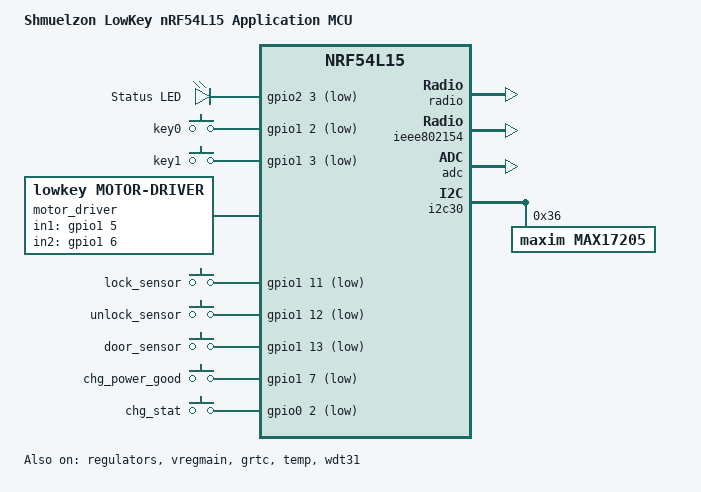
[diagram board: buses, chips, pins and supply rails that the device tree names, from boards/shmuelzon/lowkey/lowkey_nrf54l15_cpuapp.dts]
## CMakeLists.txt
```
cmake_minimum_required(VERSION 3.20.0)

# Derive the application version from git so it can be embedded in both
# the BLE Device Information Service and the Matter software version.
execute_process(
  COMMAND git describe --always --tags
  WORKING_DIRECTORY ${CMAKE_SOURCE_DIR}
  OUTPUT_VARIABLE PROJECT_VER
  OUTPUT_STRIP_TRAILING_WHITESPACE
  ERROR_QUIET)
if(NOT PROJECT_VER)
  set(PROJECT_VER "0.0.0")
endif()

# Derive the Matter software version (Basic Information cluster + OTA image
# header) from the git version and expose it to Kconfig via environment
# variables, consumed by the CHIP_DEVICE_SOFTWARE_VERSION* overrides in Kconfig.
# `git describe` gives "1.2.3" on a tagged commit, "1.2.3-5-gabc123" past a tag,
# or a bare hash when untagged; take the leading MAJOR.MINOR.PATCH and fall back
# to 0. Encode it as decimal MMmmpp (1.2.3 -> 10203, 10.54.1 -> 105401) so a
# newer tag is always a larger number, which is what the Matter OTA mechanism
# compares. Requires minor/patch < 100. Setting these before find_package() puts
# them in the environment inherited by the Kconfig invocation.
if(PROJECT_VER MATCHES "^v?([0-9]+)\\.([0-9]+)\\.([0-9]+)")
  math(EXPR matter_sw_version
       "${CMAKE_MATCH_1} * 10000 + ${CMAKE_MATCH_2} * 100 + ${CMAKE_MATCH_3}")
else()
  set(matter_sw_version 0)
endif()
set(ENV{LOWKEY_SW_VERSION} "${matter_sw_version}")
set(ENV{LOWKEY_SW_VERSION_STR} "${PROJECT_VER}")

find_package(Zephyr REQUIRED HINTS $ENV{ZEPHYR_BASE})
project(lowkey)

target_include_directories(app PRIVATE src)

target_compile_definitions(app PRIVATE APP_VERSION_STRING="${PROJECT_VER}")

target_sources(app PRIVATE
  src/main.c
  src/lock_manager.c
  src/battery_manager.c
  src/door_monitor.c
  src/watchdog.c
  src/gpio_input.c
  src/ui.c
  # Implements the radio_*() API the application uses, fanning out to whichever
  # protocol backends below are enabled. Includes their headers by path
  # (src/ble/..., src/matter/...) rather than relying on those directories being
  # on the include path, since each is only added inside its own branch.
  src/radio.c
)

# Application-level factory-data accessor, shared by every build. All builds
# store data in the nRF Connect SDK factory-data CBOR layout and read it with
# the SDK's standalone C parser (FactoryDataParser.c). A build without Matter
# compiles that parser itself (it depends only on zcbor, so it links without
# the rest of the Matter stack); a Matter build already links it as part of the
# Matter library, so only its header include path is needed there.
if(NOT DEFINED ZEPHYR_CONNECTEDHOMEIP_MODULE_DIR)
  message(FATAL_ERROR
    "ZEPHYR_CONNECTEDHOMEIP_MODULE_DIR is not set; the Matter module is "
    "required for src/platform/nrfconnect/FactoryDataParser.{c,h}.")
endif()
set(matter_nrfconnect_dir
    ${ZEPHYR_CONNECTEDHOMEIP_MODULE_DIR}/src/platform/nrfconnect)
target_sources(app PRIVATE src/factory_data.c)
target_include_directories(app PRIVATE ${matter_nrfconnect_dir})
if(NOT CONFIG_CHIP)
  target_sources(app PRIVATE ${matter_nrfconnect_dir}/FactoryDataParser.c)
endif()

if(CONFIG_LOCK_RADIO_BLE)
  target_include_directories(app PRIVATE src/ble)

  target_sources(app PRIVATE
    src/ble/ble_radio.c
    src/ble/ble_lock_service.c
    src/ble/ble_door_service.c
  )
endif()

if(CONFIG_LOCK_RADIO_MATTER)
  include(${ZEPHYR_CONNECTEDHOMEIP_MODULE_DIR}/config/nrfconnect/app/enable-gnu-std.cmake)
  include(${ZEPHYR_NRF_MODULE_DIR}/samples/matter/common/cmake/source_common.cmake)
  include(${ZEPHYR_NRF_MODULE_DIR}/samples/matter/common/cmake/data_model.cmake)
  include(${ZEPHYR_NRF_MODULE_DIR}/samples/matter/common/cmake/zap_helpers.cmake)

  ncs_get_zap_parent_dir(ZAP_PARENT_DIR)

  target_include_directories(app PRIVATE
    src/matter
    ${ZAP_PARENT_DIR}
  )

  target_sources(app PRIVATE
    src/matter/matter_radio.cpp
    src/matter/zcl_callbacks.cpp
  )

  ncs_configure_data_model()
endif()
```

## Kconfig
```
mainmenu "LowKey application"

config LOCK_MOTOR_TIMEOUT_MS
	int "Motor timeout in milliseconds"
	default 3000
	help
	  Maximum time the motor will run before the lock is declared jammed.
	  If the target sensor does not engage within this time, the motor is
	  stopped and the state transitions to JAMMED.

config LOCK_MOTOR_BRAKE_US
	int "Motor brake duration in microseconds"
	default 2000
	help
	  When the motor stops, both H-bridge inputs are driven high for this
	  duration to apply dynamic braking (shorting the motor terminals)
	  before coasting. This kills the motor's inertia so the bolt does not
	  overshoot its end position. The same brake is applied before reversing
	  direction to let the motor current decay. Set to 0 to disable braking
	  and coast to a stop.

config LOCK_BOLT_SEATING_MS
	int "Bolt seating duration in milliseconds"
	default 100
	help
	  After the lock sensor triggers during a lock operation, the motor
	  continues to run for this duration to fully seat the bolt into the
	  strike. This travel is away from the latch, so overshoot here is
	  harmless. Measured from the sensor interrupt: the position sensors
	  are not debounced, so this is the whole post-endstop travel.

config LOCK_UNBOLT_SEATING_MS
	int "Unbolt seating duration in milliseconds"
	default 0
	help
	  After the unlock sensor triggers during an unlock (unbolt) operation,
	  the motor continues to run for this duration. Unlike bolt seating,
	  this travel is toward the latch mechanism, so any non-zero value moves
	  the bolt closer to (or into) releasing the latch. Keep at 0 to stop
	  the motor as soon as the bolt is retracted. Latch release is handled
	  separately by the open action (LOCK_LATCH_RELEASE_MS).

config LOCK_LATCH_RELEASE_MS
	int "Latch release duration in milliseconds"
	default 500
	help
	  When opening (unlock + latch release), the motor continues to run
	  for this duration after the unlock sensor engages to retract the
	  bolt past the latch mechanism, allowing the door to be opened.

	  This is also exactly how long the lock is unlatched, and so how long
	  the door can be pushed open: the latch is spring loaded and pops
	  back out the moment the motor releases the cam. The lock reports
	  unlatched for this window and unlocked afterwards, with the bolt
	  staying retracted either way.

	  Set to 0 to disable latch release entirely, which makes an open
	  behave as a plain unbolt and report itself as such. Matter builds
	  reject that, because the data model advertises the Unbolting
	  feature — see the BUILD_ASSERT in src/matter/matter_radio.cpp.

config LOCK_BATTERY_POLL_INTERVAL_S
	int "Battery polling interval in seconds"
	default 60
	help
	  How often to read the MAX17205 fuel gauge registers for battery
	  level reporting. The ModelGauge m5 algorithm runs continuously in
	  hardware; polling only reads the computed SOC and voltage values.

config LOCK_BUTTON_DEBOUNCE_MS
	int "Button debounce delay in milliseconds"
	default 30
	help
	  Software debounce delay for the user keys (key0, key1). Only the
	  mechanical switches are debounced; the Hall-effect sensors and the
	  charger status pins are solid-state outputs that do not bounce, and
	  are handled on the interrupt directly (see gpio_input_init()).

config LOCK_WATCHDOG_TIMEOUT_MS
	int "Watchdog timeout in milliseconds"
	default 30000
	help
	  Per-channel task watchdog timeout. A monitored thread that fails to
	  feed its channel within this period resets the SoC.

	  Must stay above the 10 s HCI command timeout (HCI_CMD_TIMEOUT in
	  Zephyr's hci_core.c): the advertising and TX-power paths issue
	  blocking HCI commands from the system workqueue, so a controller
	  that stops answering would otherwise reset a healthy device.

config LOCK_WATCHDOG_FEED_MS
	int "Watchdog feed interval in milliseconds"
	default 5000
	help
	  How often each monitored thread feeds its channel.

config LOCK_DISCOVERY_TIMEOUT_S
	int "Discovery timeout in seconds"
	default 180 if LOCK_RADIO_MATTER
	default 60
	help
	  How long the device remains discoverable to new devices after a
	  button press. Already-bonded devices can connect at any time.

	  With Matter enabled this is 180 s so that both onboarding paths
	  opened by one button press close together. Matter clamps its
	  commissioning window up to its own three-minute minimum whatever it
	  is asked for (see matter_start_discovery() in
	  src/matter/matter_radio.cpp), so a shorter BLE window would leave
	  the lock commissionable after the LED had stopped saying so.

config LOCK_DISCOVERY_PRESS_MS
	int "Discovery button hold time in milliseconds"
	default 1500
	help
	  How long the button must be held to trigger discovery.

config LOCK_FACTORY_RESET_PRESS_MS
	int "Factory reset button hold time in milliseconds"
	default 10000
	help
	  How long the button must be held to trigger a factory reset.
	  All bonding/commissioning data is erased and the device reboots.

config LOCK_BLE_TX_POWER_DBM
	int "BLE TX output power in dBm"
	depends on BT
	default 7 if LOCK_RADIO_BLE
	default 0
	help
	  Radio TX output power for BLE, applied to the advertiser at init
	  and to each connection as it comes up. 0 leaves the controller at
	  its own default and skips the command entirely.

	  Applied at runtime because Zephyr's CONFIG_BT_CTLR_TX_PWR_* choice
	  reaches only the software link layer; on the SoftDevice Controller it
	  is silently ignored. The knob that works is the vendor-specific HCI
	  Write Tx Power Level command, so a non-zero value here also needs
	  CONFIG_BT_CTLR_TX_PWR_DYNAMIC_CONTROL=y.

	  Must be a level the SoC supports or the controller rejects the
	  command outright. +7 is the ceiling for the QFN part on this board;
	  the datasheet's +8 dBm is characterised for the CSP package only.

# ─────────────────────────────────────────────────────────────────────
# Radio backends
# ─────────────────────────────────────────────────────────────────────
# Both radios on is the product default: Matter over Thread as the primary
# path, the custom BLE GATT services as a local fallback that still works when
# the Thread mesh or the controller is down.
#
# All protocol-specific configuration lives here rather than in prj_*.conf
# fragments, so a build is described by the board plus these two switches. Two
# rules make that work:
#
#   * Defaults here beat the Zephyr and NCS ones, because this file is parsed
#     before Kconfig.zephyr and the CHIP fragments sourced at the bottom.
#   * `select` to switch a subsystem on, `default` only for values. A
#     `default y` on a symbol with unmet dependencies resolves silently to n
#     and drops the feature; a `select` makes Kconfig complain.

config LOCK_RADIO_BLE
	bool "BLE radio backend (lock, door and battery GATT services)"
	default y
	select BT
	select BT_PERIPHERAL
	select BT_SMP
	select BT_APP_PASSKEY
	select BT_SETTINGS
	select BT_KEYS_OVERWRITE_OLDEST
	select BT_FILTER_ACCEPT_LIST
	select BT_EXT_ADV
	select BT_BAS
	select BT_DIS
	select BT_DIS_SETTINGS
	select BT_DIS_MANUF_NAME
	select BT_DIS_MODEL_NUMBER
	select BT_DIS_SERIAL_NUMBER
	select BT_DIS_HW_REV
	select BT_DIS_FW_REV
	select SETTINGS_RUNTIME
	select BT_CTLR_TX_PWR_DYNAMIC_CONTROL
	# So build_adv_data() can put the per-device name in the GAP name as
	# well as the advertisement. Only when BLE is the only radio: a
	# combined build shares the GAP name with Matter and has to leave it
	# generic — see the comment on BT_DEVICE_NAME below.
	select BT_DEVICE_NAME_DYNAMIC if !LOCK_RADIO_MATTER
	# DFU over Bluetooth SMP. In a combined build CHIP_DFU_OVER_BT_SMP
	# selects this same set and adds arbitration against Matter OTA; these
	# selects are what make SMP work in a BLE-only build, where that
	# symbol does not exist.
	select ZCBOR
	select MCUMGR
	select MCUMGR_TRANSPORT_BT
	select MCUMGR_TRANSPORT_BT_CONN_PARAM_CONTROL
	select MCUMGR_TRANSPORT_BT_REASSEMBLY
	select MCUMGR_GRP_IMG
	select MCUMGR_GRP_OS
	select MCUMGR_GRP_OS_BOOTLOADER_INFO
	help
	  Custom GATT services for lock control, door state and battery level,
	  plus firmware update over Bluetooth SMP. This is a local control
	  path that needs no Matter fabric and no working Thread mesh, and it
	  is the only control path in a home with no Matter ecosystem.

config LOCK_RADIO_MATTER
	bool "Matter over Thread radio backend"
	default y
	select CHIP
	help
	  Matter Door Lock and Power Source clusters over Thread, commissioned
	  over Bluetooth. The primary control path when the home has a Matter
	  ecosystem.

# The compile-time base name. The lock service's advertisement always appends a
# per-device suffix taken from the factory-data serial ("LowKey-21C4").
#
# In a BLE-only build build_adv_data() also writes the suffixed name back as the
# GAP name, so the GATT Device Name — which is what a phone shows once it has
# bonded, in place of the advertised Local Name — identifies the individual
# lock. With Matter built in it has to stay generic instead: Matter puts the GAP
# name in its commissioning scan response, and a per-device name there would
# leave a scanner showing two similarly named entries of which only one carries
# the lock service.
config BT_DEVICE_NAME
	default "LowKey" if BT

# Zephyr turns this on by default as soon as the name is dynamic, which would
# let any bonded peer rename the lock over GATT. The name is derived from
# factory data and rebuilt on every boot, so such a write is silently reverted
# at the next reset and the device stops matching its own sticker in between.
config BT_DEVICE_NAME_GATT_WRITABLE
	default n

if LOCK_RADIO_BLE

# Preferred connection interval of 250 ms (200 * 1.25 ms). Balances
# responsiveness (lock commands arrive within 250 ms) against battery draw
# (~4 radio wake-ups/s instead of ~10 at the default 100 ms).
#
# Only applied when BLE is the only radio. In a combined build these are
# global and would also slow Matter commissioning, which wants the 45 ms
# that Matter's own defaults ask for — so there our links request 250 ms
# per-connection from the advertising set's connected callback instead.
if !LOCK_RADIO_MATTER

config BT_PERIPHERAL_PREF_MIN_INT
	default 200

config BT_PERIPHERAL_PREF_MAX_INT
	default 200

config BT_PERIPHERAL_PREF_LATENCY
	default 0

config BT_PERIPHERAL_PREF_TIMEOUT
	default 400

endif # !LOCK_RADIO_MATTER

config BT_GAP_AUTO_UPDATE_CONN_PARAMS
	default y

config BT_MAX_PAIRED
	default 5

# DIS is populated at runtime from factory data (load_and_apply_factory_data()
# in src/ble/ble_radio.c), so only the string buffer needs sizing here. PnP ID
# is off — it exists for USB-style vendor/product lookup this device has no use
# for.
config BT_DIS_STR_MAX
	default 64

config BT_DIS_PNP
	default n

# TX MTU and RX buffer for SMP DFU throughput. Deliberately modest: the
# NCS Matter defaults for DFU over SMP ask for 498/502, which costs
# several KiB of RAM for a firmware update that is rare and not
# latency-critical.
config BT_L2CAP_TX_MTU
	default 252

# Must stay <= 251. Zephyr's BT_CTLR_DATA_LENGTH_MAX defaults to this value only
# while it is <= 251 and otherwise falls to 27, so 256 would silently disable
# Data Length Extension and chop every ATT payload into 27-byte link-layer
# packets — ~12 per 252-byte SMP chunk instead of 2. Unlike BT_CTLR_TX_PWR_*
# (see LOCK_BLE_TX_POWER_DBM) the SoftDevice Controller does consume this.
#
# Costs 5 bytes of negotiated ATT MTU, since BT_L2CAP_RX_MTU is this minus the
# L2CAP header and the MTU is the MIN of the two directions.
config BT_BUF_ACL_RX_SIZE
	default 251

# Raised from the SoftDevice Controller defaults of 2 RX / 3 TX, which cap what
# a connection event can carry: at 2 RX buffers an SMP upload moved ~2 packets
# per event however long the event ran. Six each keeps a 15-30 ms event busy at
# the PDU size above. Costs ~1.8 KiB of RAM and nothing in battery terms — an
# idle connection exchanges empty PDUs either way.
config BT_CTLR_SDC_RX_PACKET_COUNT
	default 6

config BT_CTLR_SDC_TX_PACKET_COUNT
	default 6

config BT_BUF_ACL_TX_COUNT
	default 6

# Requested while the SMP characteristic is in use. Zephyr's defaults of 6/9
# (7.5-11.25 ms) are below the 15 ms floor in Apple's Accessory Design
# Guidelines, so iOS rejects them — and a peer rejection is not an error from
# bt_conn_le_param_update(), so smp_bt.c never retries and the link silently
# stays at 250 ms. That was the dominant term in a ~0.03 kB/s DFU.
#
# 15-30 ms satisfies Apple's rules. Applies only during a transfer: smp_bt.c
# restores BT_PERIPHERAL_PREF_* five seconds after the last SMP packet.
config MCUMGR_TRANSPORT_BT_CONN_PARAM_CONTROL_MIN_INT
	default 12

config MCUMGR_TRANSPORT_BT_CONN_PARAM_CONTROL_MAX_INT
	default 24

endif # LOCK_RADIO_BLE

if LOCK_RADIO_MATTER

config CHIP_DEVICE_PRODUCT_NAME
	default "LowKey"

config CHIP_DEVICE_PRODUCT_ID
	default 32768

config NCS_SAMPLE_MATTER_ZAP_FILE_PATH
	default "${APPLICATION_CONFIG_DIR}/src/matter/lock.zap"

choice STD_CPP
	default STD_CPP17
endchoice

config CHIP_BLE_EXT_ADVERTISING
	default y

# In minutes, not seconds: the SDK multiplies this by 60 to get
# CHIP_DEVICE_CONFIG_DISCOVERY_TIMEOUT_SECS. An hour of commissionable
# advertising out of the box, so a lock can be installed and set up in
# separate sittings. Only applies until the first fabric exists; after
# that, a window is opened by a button press for
# LOCK_DISCOVERY_TIMEOUT_S.
config CHIP_BLE_ADVERTISING_DURATION
	default 60

# This hardware has no NFC antenna: the nRF54L15 NFCT pins (P1.02/P1.03)
# are repurposed as the user keys (nfct-pins-as-gpios), so the NFCT
# peripheral is disabled. Matter enables sharing the onboarding payload
# over an NFC tag by default, which pulls in the NFC Type-2-Tag library
# and then fails to link against the absent nrfx_nfct / nfc_platform
# driver. Turn it off — commissioning is via BLE + the QR/manual code.
config CHIP_NFC_ONBOARDING_PAYLOAD
	default n

# ── Thread as MTD/SED ────────────────────────────────────────────────
choice OPENTHREAD_DEVICE_TYPE
	default OPENTHREAD_MTD
endchoice

config CHIP_ENABLE_ICD_SUPPORT
	default y

# The ceiling for the QFN package this board uses — the datasheet's +8 dBm is
# CSP-only, and there is no PA/FEM here.
#
# Do NOT raise this to 8 expecting a clamp. The nrf_802154 driver clamps only to
# the highest RADIO.TXPOWER value the SoC defines, and nrf54l15_types.h defines
# both Pos7dBm and Pos8dBm because the register field is per-die, not
# per-package — so 8 programs a level this part is not characterised for.
#
# Only improves lock -> router. Inbound commands are governed by the router's TX
# power and our receive sensitivity, which nothing here changes.
config OPENTHREAD_DEFAULT_TX_POWER
	default 7

# ── ICD responsiveness ───────────────────────────────────────────────
# The lock sleeps with its radio off, so the parent router buffers every inbound
# frame until we poll. Inbound latency is bounded by the poll interval; outbound
# reporting is unaffected and always immediate.
#
# The NCS defaults (2500 slow / 500 fast / 300 active) are self-defeating: fast
# poll > active mode duration means the window expires before a single fast poll
# can fire, so every round trip of a multi-message exchange pays the full
# 2500 ms and a CASE handshake costs ~7.5 s. These give the active window room
# to cover a handshake.
#
# Deliberately not SSED/CSL: Matter's SSED path only calls otLinkSetCslPeriod,
# never otLinkSetPollPeriod, so the poll period freezes at boot and the
# active/idle machinery becomes a no-op. CSL also needs a Thread 1.2+ parent
# with enhanced keep-alive, and the parent changes as the mesh re-forms; when
# unsupported it silently disables and falls back to a child-timeout-derived
# period of minutes, i.e. the lock looks dead.
config CHIP_ICD_SLOW_POLL_INTERVAL
	default 500

config CHIP_ICD_FAST_POLLING_INTERVAL
	default 200

config CHIP_ICD_ACTIVE_MODE_DURATION
	default 2000

config CHIP_ICD_ACTIVE_MODE_THRESHOLD
	default 1000

# ── Factory Data ─────────────────────────────────────────────────────
# _BUILD stays off so the build does not bake Kconfig-derived factory data into
# merged.hex at the same partition: every app flash would overwrite the
# per-device data provisioned by scripts/generate_factory_data.py with SDK
# sample defaults, and the generated secrets exist nowhere else.
config CHIP_FACTORY_DATA
	default y

config CHIP_FACTORY_DATA_BUILD
	default n

# ── Test event triggers ──────────────────────────────────────────────
# A certification feature, on by default in the NCS Matter common code, which
# reads a 16-byte enable key from factory data at server init. We generate no
# such key, so leaving it on aborts init with
# CHIP_ERROR_PERSISTED_STORAGE_VALUE_NOT_FOUND (0xa0). Nothing in the
# production path — OTA, fabric removal, factory reset, reboot — needs it.
config NCS_SAMPLE_MATTER_TEST_EVENT_TRIGGERS
	default n

endif # LOCK_RADIO_MATTER

# ─────────────────────────────────────────────────────────────────────
# Both radios: making Bluetooth hold two tenants
# ─────────────────────────────────────────────────────────────────────
# Matter owns the Bluetooth stack and advertises for commissioning through its
# BLEAdvertisingArbiter — a single time-multiplexed advertiser that stamps one
# identity on every request. Routing our services through it would mean no
# persistent bonds (why CONFIG_CHIP_NUS forces BT_BONDABLE=n) and no
# reachability during a commissioning window.
#
# Instead the two take separate identities. BLEManagerImpl picks identity 1 for
# CHIPoBLE whenever BT_BONDABLE is set, leaving identity 0 to the application,
# so both advertise at once and our bonds sit where Matter never looks — which
# matters, because it calls bt_id_reset() on identity 1 on every boot after the
# first, unpairing everything bonded there.
if LOCK_RADIO_BLE && LOCK_RADIO_MATTER

# Identity 0 is ours, identity 1 is Matter's.
config BT_ID_MAX
	default 2

# One advertising set each. Ours is created explicitly; Matter's arbiter
# uses the legacy set.
config BT_EXT_ADV_MAX_ADV_SET
	default 2

# Keeps the controller's per-set memory at its lower tier; nothing we
# advertise needs more than a legacy payload.
config BT_CTLR_ADV_DATA_LEN_MAX
	default 31

# One commissioning link plus one application link. Matter defaults this
# to 1, which is why Nordic's own NUS integration cannot run during
# commissioning.
config BT_MAX_CONN
	default 2

# Matter's own formula, from its Kconfig.defaults: 6 - (BT_MAX_CONN + 1).
config BT_BUF_ACL_RX_COUNT_EXTRA
	default 3

# CHIPoBLE characteristics are unencrypted, so a commissioner has no
# reason to pair — but some phone stacks bond opportunistically, and with
# BT_APP_PASSKEY on that would stall commissioning behind a passkey
# prompt. Enabling this lets us refuse pairing that arrives on Matter's
# identity.
config BT_SMP_APP_PAIRING_ACCEPT
	default y

# Stack sizes NCS recommends for nRF54L with Bluetooth security enabled;
# SMP requests are processed on the system workqueue.
config BT_RX_STACK_SIZE
	default 2560

config SYSTEM_WORKQUEUE_STACK_SIZE
	default 2048

# The nrfconnect default (y) makes DoFactoryReset call zms_clear() on the whole
# settings partition, bt/ subtree included. Off, the selective path deletes only
# the CHIP subtree, so a lock removed from its fabric — or one whose
# commissioning failed, which ends at zero fabrics and the same action — keeps
# its BLE bonds. The button path still clears both, calling each backend's own
# factory_reset(). Trade noted in the SDK's help text: whole-page erase is the
# more robust way to recover a settings partition left in a bad state.
config CHIP_FACTORY_RESET_ERASE_SETTINGS
	default n

# Routes SMP DFU through Matter's DFUSync mutex so an SMP upload and a
# Matter OTA cannot both write the secondary slot; the loser gets a clean
# EBUSY. Also registers the image-confirm hooks.
config CHIP_DFU_OVER_BT_SMP
	default y

# CHIP_DFU_OVER_BT_SMP defaults this choice to plain read/write, where a
# BLE-only build gets the authenticated variant for free from BT_SMP. Firmware
# upload should require a paired, encrypted link; src/ble/ble_radio.c carries a
# BUILD_ASSERT so it cannot regress silently.
choice MCUMGR_TRANSPORT_BT_PERM
	default MCUMGR_TRANSPORT_BT_PERM_RW_AUTHEN
endchoice

# MCUMGR_TRANSPORT_NETBUF_SIZE/_COUNT are deliberately left alone: this device
# has the RAM headroom, so CHIP_DFU_OVER_BT_SMP's 1024/6 stands. The count is
# how many SMP requests can be in flight, and Zephyr's default of 2 leaves the
# client unable to pipeline — the next bottleneck after the connection interval.
# Note a BLE-only build has neither symbol and gets Zephyr's 384/4.

endif # LOCK_RADIO_BLE && LOCK_RADIO_MATTER

if CHIP

config NCS_SAMPLE_MATTER_PERSISTENT_STORAGE
	default y

# Software version, derived from the git version by CMakeLists.txt and passed
# in via the environment. The numeric form is decimal MMmmpp so a newer tag is
# always a larger number (what Matter OTA compares); the string is the raw
# `git describe` output. Overrides the SDK defaults (0 / "prerelease").
config CHIP_DEVICE_SOFTWARE_VERSION
	default "$(LOWKEY_SW_VERSION)"

config CHIP_DEVICE_SOFTWARE_VERSION_STRING
	default "$(LOWKEY_SW_VERSION_STR)"

endif # CHIP

if OPENTHREAD

choice OPENTHREAD_NORDIC_LIBRARY_CONFIGURATION
	default OPENTHREAD_NORDIC_LIBRARY_MTD
endchoice

endif # OPENTHREAD

if CHIP
source "$(ZEPHYR_CONNECTEDHOMEIP_MODULE_DIR)/config/nrfconnect/chip-module/Kconfig.features"
source "$(ZEPHYR_CONNECTEDHOMEIP_MODULE_DIR)/config/nrfconnect/chip-module/Kconfig.defaults"
source "$(ZEPHYR_NRF_MODULE_DIR)/samples/matter/common/src/Kconfig"
endif # CHIP

source "Kconfig.zephyr"
```

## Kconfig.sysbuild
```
choice BOOTLOADER
	default BOOTLOADER_MCUBOOT
endchoice

if BOOTLOADER_MCUBOOT

config PM_OVERRIDE_EXTERNAL_DRIVER_CHECK
	default y

config DFU_MULTI_IMAGE_PACKAGE_BUILD
	default y

config DFU_MULTI_IMAGE_PACKAGE_APP
	default y

endif # BOOTLOADER_MCUBOOT

source "share/sysbuild/Kconfig"
```

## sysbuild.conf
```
# Set unconditionally: sysbuild's Kconfig cannot see the application's, so this
# cannot be keyed off CONFIG_LOCK_RADIO_MATTER. It gates build-time factory data
# (left off in favour of scripts/generate_factory_data.py) and the matter.ota
# artifact, so a CONFIG_LOCK_RADIO_MATTER=n build emits a matter.ota nobody
# wants unless -DSB_CONFIG_MATTER=n is passed too.
SB_CONFIG_MATTER=y

# ── MCUboot ──────────────────────────────────────────────────────────
SB_CONFIG_BOOTLOADER_MCUBOOT=y
# Overwrite-only is required for compressed images; LZMA is applied at build
# time and MCUboot decompresses into the primary slot.
SB_CONFIG_MCUBOOT_MODE_OVERWRITE_ONLY=y
SB_CONFIG_MCUBOOT_COMPRESSED_IMAGE_SUPPORT=y

# Images are signed with MCUboot's *public* development key unless this is
# overridden. Anyone can produce an image such a bootloader will accept, and the
# key cannot be changed after units ship, so set it for anything but a test
# build — see the security section of README.md.
#
# SB_CONFIG_BOOT_SIGNATURE_KEY_FILE="/absolute/path/to/prod-ed25519.pem"
```

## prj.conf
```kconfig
# ── Core System ──────────────────────────────────────────────────────
CONFIG_I2C=y
# Without this the vregmain DCDC mode in devicetree is silently ignored.
CONFIG_REGULATOR=y

# ── Power Management ─────────────────────────────────────────────────
# PM_DEVICE_RUNTIME is what makes i2c30's zephyr,pm-device-runtime-auto take
# effect. Without it the TWIM is resumed once at boot and never suspended
# again, so the i2c30_sleep pinctrl state is applied only during init.
CONFIG_PM_DEVICE=y
CONFIG_PM_DEVICE_RUNTIME=y

# Reference-counted constant-latency requests, shared with MPSL.
CONFIG_NRF_SYS_EVENT=y

# Powers down whole 32 KiB SRAM sections above the image. Driven from main():
# the library's own SYS_INIT needs newlib, and Matter forces picolibc.
CONFIG_RAM_POWER_DOWN_LIBRARY=y

# ── Serial / Console — disabled for release ──────────────────────────
CONFIG_SERIAL=n
CONFIG_CONSOLE=n
CONFIG_UART_CONSOLE=n
CONFIG_PRINTK=n
CONFIG_NCS_BOOT_BANNER=n
# Unmasked once NCS_BOOT_BANNER is off, so it has to be turned off too.
CONFIG_BOOT_BANNER=n

# ── Logging / shell / debug — disabled for release ───────────────────
CONFIG_LOG=n
CONFIG_USE_SEGGER_RTT=n
CONFIG_SHELL=n
CONFIG_ASSERT_VERBOSE=n
CONFIG_ASSERT_NO_FILE_INFO=y
CONFIG_THREAD_NAME=n

# ── Watchdog ─────────────────────────────────────────────────────────
# Task watchdog: one channel per critical thread, with the hardware watchdog
# as the fallback if the task watchdog itself stops running.
CONFIG_WATCHDOG=y
CONFIG_TASK_WDT=y
CONFIG_TASK_WDT_HW_FALLBACK=y

# ── DFU ──────────────────────────────────────────────────────────────
# Needed explicitly for a BLE-only build: MCUMGR_GRP_IMG does not select them,
# and the Matter symbols that do are absent. Without them the SMP image group
# has no back end and the build warns about unsatisfied MCUboot DFU symbols.
CONFIG_IMG_MANAGER=y
CONFIG_STREAM_FLASH=y

# ── Flash / Settings ─────────────────────────────────────────────────
# ZMS is set explicitly because a BLE-only build has nothing to select it —
# Matter only implies it.
CONFIG_FLASH=y
CONFIG_FLASH_MAP=y
CONFIG_ZMS=y
CONFIG_ZMS_LOOKUP_CACHE=y
CONFIG_ZMS_LOOKUP_CACHE_FOR_SETTINGS=y
CONFIG_SETTINGS=y

# ── Stack / Memory ───────────────────────────────────────────────────
# 6144 is what Matter asks for; server init runs on the main thread.
CONFIG_MAIN_STACK_SIZE=6144
CONFIG_HEAP_MEM_POOL_SIZE=8192

# sys_reboot() is called directly on the factory-reset and init-failure paths,
# so this cannot be left to whatever happens to select it.
CONFIG_REBOOT=y

# ── Build ────────────────────────────────────────────────────────────
CONFIG_LTO=y
CONFIG_ISR_TABLES_LOCAL_DECLARATION=y
CONFIG_RESET_ON_FATAL_ERROR=y
```

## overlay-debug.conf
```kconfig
# Debug overlay. Apply with -DOVERLAY_CONFIG="overlay-debug.conf", which is
# additive. Deliberately NOT named prj_debug.conf: Zephyr treats prj_<suffix>.conf
# as a FILE_SUFFIX variant that REPLACES prj.conf, so -DFILE_SUFFIX=debug would
# silently drop every base setting.
#
# ── Console over SEGGER RTT (SWD back-channel) ───────────────────────
# No wired debug UART on this board; the debugger's RTT channel carries the
# console and logging. SERIAL stays off — no UARTE is enabled.
CONFIG_CONSOLE=y
CONFIG_USE_SEGGER_RTT=y
CONFIG_RTT_CONSOLE=y
CONFIG_PRINTK=y
CONFIG_NCS_BOOT_BANNER=y

# ── Logging ──────────────────────────────────────────────────────────
# Minimal mode routes log output through printk → the RTT console, so no
# separate log backend is needed.
CONFIG_LOG=y
CONFIG_LOG_MODE_MINIMAL=y
CONFIG_LOG_DEFAULT_LEVEL=3

# ── Debug ────────────────────────────────────────────────────────────
CONFIG_ASSERT_VERBOSE=y
CONFIG_ASSERT_NO_FILE_INFO=n
CONFIG_THREAD_NAME=y
CONFIG_THREAD_MONITOR=y

CONFIG_RESET_ON_FATAL_ERROR=n
```

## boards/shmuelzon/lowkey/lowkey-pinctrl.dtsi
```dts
/*
 * Copyright (c) 2024 Nordic Semiconductor ASA
 * SPDX-License-Identifier: Apache-2.0
 */

&pinctrl {
	/* MAX17205 fuel gauge: SCL = P0.00, SDA = P0.01 */
	/omit-if-no-ref/ i2c30_default: i2c30_default {
		group1 {
			psels = <NRF_PSEL(TWIM_SCL, 0, 0)>,
				<NRF_PSEL(TWIM_SDA, 0, 1)>;
		};
	};

	/omit-if-no-ref/ i2c30_sleep: i2c30_sleep {
		group1 {
			psels = <NRF_PSEL(TWIM_SCL, 0, 0)>,
				<NRF_PSEL(TWIM_SDA, 0, 1)>;
			low-power-enable;
		};
	};
};
```

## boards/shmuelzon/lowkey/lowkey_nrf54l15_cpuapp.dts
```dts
/*
 * Copyright (c) 2024 Nordic Semiconductor ASA
 *
 * SPDX-License-Identifier: Apache-2.0
 */

/dts-v1/;

#include <nordic/nrf54l15_cpuapp.dtsi>
#include <zephyr/dt-bindings/gpio/nordic-nrf-gpio.h>
#include "lowkey-pinctrl.dtsi"

/*
 * LowKey board — Ezurio BL54L15 module (P/N 453-00044) carrying the
 * nRF54L15 SoC. Same silicon and module as the BL54L15 DVK, so the SoC-level
 * configuration (clocks, RRAM, GRTC, radio) mirrors that board; the rest of
 * this file describes the product's own wiring. The module has a single fixed
 * antenna (MHF4), so there is no RF switch to manage. There is no wired debug
 * UART — debugging is over the SWD back-channel (RTT).
 */

/ {
	compatible = "shmuelzon,lowkey_nrf54l15-cpuapp";
	model = "Shmuelzon LowKey nRF54L15 Application MCU";

	/*
	 * No zephyr,console or zephyr,*-uart: this board has no wired debug
	 * UART and enables no UARTE, so pointing them at a disabled node would
	 * only mislead. Debug output goes over RTT (see overlay-debug.conf).
	 */
	chosen {
		zephyr,code-partition = &slot0_partition;
		zephyr,sram = &cpuapp_sram;
		zephyr,flash-controller = &rram_controller;
		zephyr,flash = &cpuapp_rram;
		zephyr,ieee802154 = &ieee802154;
	};

	aliases {
		led0 = &status_led;
		key0 = &key0;
		key1 = &key1;
		watchdog0 = &wdt31;

		/* Position sensors */
		lock-sensor   = &lock_sensor;
		unlock-sensor = &unlock_sensor;
		door-sensor   = &door_sensor;

		/* Charger status */
		chg-power-good = &chg_power_good;
		chg-stat       = &chg_stat;
	};

	/* Status LED — P2.03, active-low (MCU sinks current). */
	leds {
		compatible = "gpio-leds";

		status_led: status-led {
			gpios = <&gpio2 3 GPIO_ACTIVE_LOW>;
			label = "Status LED";
		};
	};

	/*
	 * User keys — active-low with internal pull-up. The firmware reaches
	 * these through the key0/key1 aliases and debounces them itself
	 * (src/gpio_input.c); CONFIG_INPUT is off, so the gpio-keys compatible
	 * and zephyr,code below are conventional rather than consumed.
	 */
	buttons {
		compatible = "gpio-keys";

		key0: key-0 {
			/* P1.02 — button 0 (discovery / factory reset) */
			gpios = <&gpio1 2 (GPIO_PULL_UP | GPIO_ACTIVE_LOW)>;
			zephyr,code = <0>;
		};
		key1: key-1 {
			/* P1.03 — button 1 */
			gpios = <&gpio1 3 (GPIO_PULL_UP | GPIO_ACTIVE_LOW)>;
			zephyr,code = <1>;
		};
	};

	/*
	 * Motor driver (H-bridge). IN1/IN2 are common to every PCB revision;
	 * the revision overlay adds any revision-specific pins:
	 *   rev A (DRV8837): adds nsleep-gpios (P1.04) — see ..._A.overlay
	 *   rev B (DRV8871): auto-sleep, no nSLEEP  — see ..._B.overlay
	 */
	motor_driver: motor-driver {
		compatible = "lowkey,motor-driver";
		in1-gpios = <&gpio1 5 GPIO_ACTIVE_HIGH>;  /* P1.05 */
		in2-gpios = <&gpio1 6 GPIO_ACTIVE_HIGH>;  /* P1.06 */
	};

	/*
	 * Hall-effect sensors (push-pull output, active-low). On P1 for
	 * GPIOTE20 interrupt-driven wake-from-sleep. No pull-up: the push-pull
	 * stage would waste current fighting it.
	 */
	lock_sensors {
		compatible = "gpio-keys";

		lock_sensor: lock-sensor {
			/* P1.11 — bolt fully extended (locked) */
			gpios = <&gpio1 11 GPIO_ACTIVE_LOW>;
			zephyr,code = <2>;
		};
		unlock_sensor: unlock-sensor {
			/* P1.12 — bolt fully retracted (unlocked) */
			gpios = <&gpio1 12 GPIO_ACTIVE_LOW>;
			zephyr,code = <3>;
		};
		door_sensor: door-sensor {
			/* P1.13 — door closed */
			gpios = <&gpio1 13 GPIO_ACTIVE_LOW>;
			zephyr,code = <4>;
		};
	};

	/*
	 * Charger status inputs. Both are open-drain active-low; internal
	 * pull-ups are enabled on the nRF54L15 side.
	 *
	 * PG (power-good): LOW = input power connected.
	 * STAT: LOW = charge in progress, HIGH = charge complete.
	 */
	charger_status {
		compatible = "gpio-keys";

		chg_power_good: chg-power-good {
			/* P1.07 — GPIOTE20 wake-capable */
			gpios = <&gpio1 7 (GPIO_ACTIVE_LOW | GPIO_PULL_UP)>;
			zephyr,code = <5>;
		};
		chg_stat: chg-stat {
			/* P0.02 — GPIOTE30 wake-capable */
			gpios = <&gpio0 2 (GPIO_ACTIVE_LOW | GPIO_PULL_UP)>;
			zephyr,code = <6>;
		};
	};
};

/*
 * nrf54l15.dtsi gives cpuapp 188 KiB of the SoC's 256 KiB SRAM and reserves the
 * top 68 KiB as cpuflpr_sram. This product never starts the FLPR core, so take
 * it back — the same override Nordic ships for the parts where FLPR is
 * unsupported. cpuflpr_sram is left in place and now overlaps this region;
 * anything that wants the FLPR back must shrink this reg first.
 *
 * Not only headroom: CONFIG_RAM_POWER_DOWN_LIBRARY powers down whole 32 KiB
 * sections above _image_ram_end, and at 188 KiB there was never a complete
 * section free, so the option did nothing at all. Each 32 KiB of RAM the image
 * gives back is one more section powered down, so the practical budget is well
 * under 256 KiB — a combined Matter + BLE build currently sits at ~199 KiB and
 * frees exactly one section.
 */
&cpuapp_sram {
	reg = <0x20000000 DT_SIZE_K(256)>;
	ranges = <0x0 0x20000000 DT_SIZE_K(256)>;
};

/*
 * The RRAM half of the same trade: cpuapp gets the low 1428 KiB of 1524 KiB,
 * with the top 96 KiB reserved as cpuflpr_rram.
 *
 * Unlike the SRAM reclaim this is load-bearing rather than headroom.
 * pm_static.yml spans the full 1524 KiB, so every image Partition Manager lays
 * out needs this same override or the layout overflows flash_primary and the
 * build fails — which is why it is repeated verbatim in
 * sysbuild/mcuboot/app.overlay, whose devicetree never sees this file.
 */
&cpuapp_rram {
	reg = <0x0 DT_SIZE_K(1524)>;
};

&lfxo {
	load-capacitors = "internal";
	load-capacitance-femtofarad = <15500>;
};

&hfxo {
	load-capacitors = "internal";
	load-capacitance-femtofarad = <15000>;
};

&regulators {
	status = "okay";
};

&vregmain {
	status = "okay";
	regulator-initial-mode = <NRF5X_REG_MODE_DCDC>;
};

&grtc {
	owned-channels = <0 1 2 3 4 5 6 7 8 9 10 11>;
	/*
	 * Channels 7-11 reserved for Zero Latency IRQs. Channels 3-4 are the
	 * SoC's FLPR reservation; the FLPR core is unused here (see the
	 * cpuapp_sram override above) but the channels are left ceded because
	 * nothing needs them and the SDK default expects them free.
	 */
	child-owned-channels = <3 4 7 8 9 10 11>;
	status = "okay";
};

&gpio0 {
	status = "okay";
};

&gpio1 {
	status = "okay";
};

&gpio2 {
	status = "okay";
};

&gpiote20 {
	status = "okay";
};

&gpiote30 {
	status = "okay";
};

&radio {
	status = "okay";
};

&ieee802154 {
	status = "okay";
};

&temp {
	status = "okay";
};

&clock {
	status = "okay";
};

&adc {
	status = "okay";
};

/*
 * MAX17205 fuel gauge on I2C30. uart30 shares the SERIAL30 peripheral and is
 * left disabled so this bus can own P0.00/P0.01.
 */
&i2c30 {
	status = "okay";
	pinctrl-0 = <&i2c30_default>;
	pinctrl-1 = <&i2c30_sleep>;
	pinctrl-names = "default", "sleep";

	max17205: max17205@36 {
		compatible = "maxim,max17205";
		reg = <0x36>;
		sense-resistor-micro-ohms = <10000>;          /* 10 mOhm */
		charge-term-current-microamp = <103000>;      /* BQ25886 ITERM = 103 mA */
		status = "okay";
	};
};

/* Hardware watchdog for production reliability. */
&wdt31 {
	status = "okay";
};

/*
 * Reclaim the NFC antenna pins (P1.02 / P1.03) as ordinary GPIOs for the two
 * user keys (key0/key1). On the nRF54L15 these pins power up in NFC mode: the
 * NFCT pad network is connected and holds them low, overriding the GPIO
 * pull-ups, so the keys read stuck-low even though PIN_CNF is correct.
 * Disabling the nfct node is not enough — the pads must be taken off NFCT.
 * This property makes SoC startup (system_nrf54l.c) program
 * NRF_NFCT->PADCONFIG = Disabled on every boot, freeing the pins as GPIO.
 */
&uicr {
	nfct-pins-as-gpios;
};

/* Include default memory partition configuration file */
#include <nordic/nrf54l15_partition.dtsi>
```

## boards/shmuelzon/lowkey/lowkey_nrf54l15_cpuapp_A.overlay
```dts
/*
 * LowKey PCB revision A.
 *
 * Motor driver: TI DRV8837 low-voltage H-bridge. Unlike the DRV8871 on
 * rev B, the DRV8837 has a dedicated nSLEEP input that must be driven high
 * to enable the outputs, so this revision adds the nsleep-gpios pin on top
 * of the common IN1/IN2 wiring in the base *.dts.
 */

#include <zephyr/dt-bindings/gpio/nordic-nrf-gpio.h>

&motor_driver {
	nsleep-gpios = <&gpio1 4 GPIO_ACTIVE_HIGH>;  /* P1.04 */
};
```

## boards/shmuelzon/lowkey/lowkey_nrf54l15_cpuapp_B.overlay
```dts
/*
 * LowKey PCB revision B — DRV8871 H-bridge. Same IN1/IN2 as rev A but no
 * nSLEEP input; it sleeps automatically when both are idle. Omitting
 * nsleep-gpios, optional in the binding, is the entire delta from the base
 * .dts, so this file deliberately adds no nodes.
 */
```

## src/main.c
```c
#include <zephyr/kernel.h>
#include <zephyr/logging/log.h>
#include <zephyr/sys/reboot.h>

#include <ram_pwrdn.h>

#include "radio.h"
#include "lock_manager.h"
#include "door_monitor.h"
#include "battery_manager.h"
#include "watchdog.h"
#include "ui.h"

LOG_MODULE_REGISTER(app, CONFIG_LOG_DEFAULT_LEVEL);

/* --- Lock state changed — application-level handler ----------------- */

static void on_lock_state_changed(const struct lock_state_change *change)
{
	radio_on_lock_state_changed(change);

	/*
	 * Poll the gauge once the bolt is at rest, while the motor load is still
	 * reflected in the readings. UNLATCHED is skipped because its settle to
	 * UNLOCKED follows within seconds and would poll again for nothing.
	 */
	if (change->state == LOCK_STATE_LOCKED ||
	    change->state == LOCK_STATE_UNLOCKED) {
		battery_manager_poll();
	}
}

/* --- UI callbacks --------------------------------------------------- */

/*
 * No originator: a key press has no client behind it, and MANUAL is what a
 * Matter controller turns into "unlocked at the door" rather than attributing
 * the action to a fabric member.
 */
static int on_ui_lock_request(enum lock_action action)
{
	return lock_manager_request(action, LOCK_OP_SOURCE_MANUAL, NULL);
}

static const struct ui_cb ui_cbs = {
	.lock_request = on_ui_lock_request,
	.start_discovery = radio_start_discovery,
	.factory_reset = radio_factory_reset,
};

/* --- Battery callbacks ----------------------------------------------- */

static void on_charger_changed(bool charging, bool complete)
{
	ui_on_charging_changed(charging, complete);
	radio_on_charger_changed(charging, complete);
}

static const struct battery_manager_cb battery_cbs = {
	.on_battery_changed = radio_on_battery_changed,
	.on_charger_changed = on_charger_changed,
};

/* --- Radio callbacks ------------------------------------------------ */

static const struct radio_cb radio_cbs = {
	.lock_request = lock_manager_request,
	.on_discovery_changed = ui_on_discovery_changed,
	.on_identify = ui_on_identify,
};

/* --- Main ----------------------------------------------------------- */

int main(void)
{
	int err;

	/*
	 * Power down the SRAM sections above the image. Called here rather than
	 * left to the library's own SYS_INIT, which only exists under
	 * CONFIG_RAM_POWER_ADJUST_ON_HEAP_RESIZE — that needs newlib, and Matter
	 * forces picolibc, so nothing would call it in a BLE-only build.
	 */
	power_down_unused_ram();

	/*
	 * Peripheral init failures are logged but not fatal: the hardware may
	 * simply not be connected during development, and the radio is still
	 * worth bringing up.
	 *
	 * These register callbacks that lead into the radio layer, and the
	 * sensor interrupts are live from here, so radio.c ignores anything
	 * arriving before radio_init() rather than dispatching into backends
	 * that do not exist yet.
	 */
	err = lock_manager_init(on_lock_state_changed);
	if (err) {
		LOG_WRN("App: lock manager init failed (hardware absent?): %d",
			err);
	}

	err = door_monitor_init(radio_on_door_state_changed);
	if (err) {
		LOG_WRN("App: door monitor init failed (hardware absent?): %d",
			err);
	}

	err = ui_init(&ui_cbs);
	if (err) {
		LOG_WRN("App: UI init failed (hardware absent?): %d", err);
	}

	err = battery_manager_init(&battery_cbs);
	if (err) {
		LOG_WRN("App: battery init failed (hardware absent?): %d", err);
	}

	/* Before the radio, which claims a watchdog channel of its own. */
	err = watchdog_init();
	if (err) {
		LOG_ERR("App: watchdog init failed: %d", err);
		return err;
	}

	err = radio_init(&radio_cbs);
	if (err) {
		/*
		 * Reboot rather than return: the watchdog is already being fed
		 * from the system workqueue, so a bare return would leave a
		 * radio-less lock sitting there looking healthy.
		 */
		LOG_ERR("App: radio init failed, rebooting: %d", err);
		sys_reboot(SYS_REBOOT_WARM);
	}

	/*
	 * Publish the state the hardware was found in, now that the backends
	 * exist. operated stays clear: nobody operated the lock, and a Matter
	 * build would otherwise announce an operation on every boot.
	 *
	 * The door is deliberately absent. Its only non-eventing publish path
	 * runs from the Matter cluster init callback inside radio_init() (see
	 * matter_radio_publish_initial_state), whereas going through
	 * radio_on_door_state_changed() here would reach SetDoorState() and emit
	 * a DoorStateChange event as if the door had just moved. BLE needs no
	 * seeding — it has no subscribers yet and serves reads on demand.
	 */
	struct lock_state_change initial_state = {
		.state = lock_manager_get_state(),
		.source = LOCK_OP_SOURCE_MANUAL,
	};

	radio_on_lock_state_changed(&initial_state);
	radio_on_battery_changed(battery_get_soc(), battery_get_voltage(),
				 battery_get_remaining_mah());
	radio_on_charger_changed(battery_is_charging(),
				 battery_is_charge_complete());

	LOG_INF("App: ready (version %s)", APP_VERSION_STRING);

	return radio_run();
}
```

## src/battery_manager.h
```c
#ifndef BATTERY_MANAGER_H_
#define BATTERY_MANAGER_H_

#include <stdbool.h>
#include <stdint.h>

#ifdef __cplusplus
extern "C" {
#endif

typedef void (*battery_changed_cb_t)(uint8_t soc_percent, uint16_t voltage_mv,
				     uint16_t remaining_mah);
typedef void (*charger_changed_cb_t)(bool charging, bool complete);

struct battery_manager_cb {
	battery_changed_cb_t on_battery_changed;
	charger_changed_cb_t on_charger_changed;
};

int battery_manager_init(const struct battery_manager_cb *cbs);
uint8_t battery_get_soc(void);
uint16_t battery_get_voltage(void);

/** Remaining capacity in mAh (RepCap), as of the last poll. */
uint16_t battery_get_remaining_mah(void);

/** Current charger state: true while the pack is actively charging. */
bool battery_is_charging(void);

/**
 * Current charger state: true when external power is present but charging has
 * finished (fully charged). Both getters false means running on battery.
 */
bool battery_is_charge_complete(void);

/**
 * Trigger an immediate battery status read.
 * Submits the poll work item to the system workqueue.
 * Safe to call from ISR or workqueue context.
 */
void battery_manager_poll(void);

#ifdef __cplusplus
}
#endif

#endif /* BATTERY_MANAGER_H_ */
```

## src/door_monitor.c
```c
#include "door_monitor.h"
#include "gpio_input.h"

#include <zephyr/kernel.h>
#include <zephyr/drivers/gpio.h>
#include <zephyr/logging/log.h>
#include <zephyr/sys/atomic.h>

LOG_MODULE_REGISTER(door_monitor, CONFIG_LOG_DEFAULT_LEVEL);

static const struct gpio_dt_spec door_sensor_gpio =
	GPIO_DT_SPEC_GET(DT_ALIAS(door_sensor), gpios);

/* Written only from the system workqueue, read from the radio threads. */
static atomic_t current_state;
static door_state_changed_cb_t state_cb;

static struct gpio_input sensor_input;

static void sensor_work_handler(struct k_work *work)
{
	int active = gpio_pin_get_dt(&door_sensor_gpio);
	enum door_state new_state;

	if (active < 0) {
		LOG_WRN("Door: sensor read error: %d", active);
		return;
	}

	new_state = active ? DOOR_STATE_CLOSED : DOOR_STATE_OPEN;

	if (atomic_set(&current_state, new_state) == new_state) {
		return;
	}

	LOG_INF("Door: %s", new_state == DOOR_STATE_CLOSED ? "closed" : "open");

	if (state_cb) {
		state_cb(new_state);
	}
}

int door_monitor_init(door_state_changed_cb_t cb)
{
	int err;

	state_cb = cb;

	err = gpio_input_init(&sensor_input, &door_sensor_gpio,
			      sensor_work_handler, 0);
	if (err) {
		LOG_ERR("Door: sensor init failed: %d", err);
		return err;
	}

	int active = gpio_pin_get_dt(&door_sensor_gpio);

	atomic_set(&current_state,
		   (active > 0) ? DOOR_STATE_CLOSED : DOOR_STATE_OPEN);

	LOG_INF("Door: init, %s",
		door_monitor_get_state() == DOOR_STATE_CLOSED ? "closed" : "open");
	return 0;
}

enum door_state door_monitor_get_state(void)
{
	return (enum door_state)atomic_get(&current_state);
}
```

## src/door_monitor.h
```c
#ifndef DOOR_MONITOR_H_
#define DOOR_MONITOR_H_

#include <stdint.h>

#ifdef __cplusplus
extern "C" {
#endif

enum door_state {
	DOOR_STATE_CLOSED = 0,
	DOOR_STATE_OPEN   = 1,
};

typedef void (*door_state_changed_cb_t)(enum door_state state);

int door_monitor_init(door_state_changed_cb_t cb);
enum door_state door_monitor_get_state(void);

#ifdef __cplusplus
}
#endif

#endif /* DOOR_MONITOR_H_ */
```

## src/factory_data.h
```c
#ifndef FACTORY_DATA_H_
#define FACTORY_DATA_H_

#include <stddef.h>
#include <stdbool.h>
#include <stdint.h>

#ifdef __cplusplus
extern "C" {
#endif

/* Fallback battery capacity used when no per-device value is provisioned. */
#define FACTORY_DATA_DEFAULT_BATTERY_CAP_MAH 5000

/**
 * Battery pack design capacity in mAh.
 *
 * Read once from the per-device factory_data partition, independent of the
 * radio backend. The partition uses the nRF Connect SDK factory-data CBOR
 * layout on every build; the value lives in the CBOR "user" map as the string
 * field `battery_capacity_mah` and is parsed with the SDK parser
 * (FactoryDataParser.c). Returns FACTORY_DATA_DEFAULT_BATTERY_CAP_MAH if the
 * partition is erased or the field is missing/invalid.
 */
uint16_t factory_data_battery_capacity_mah(void);

/*
 * The accessors below expose the top-level Device-Information string fields and
 * the BLE pairing passkey. They are compiled on every build but only used by
 * the BLE radio; the Matter build serves the equivalent values to its stack
 * through the SDK (DeviceInstanceInfoProvider / commissioning).
 */

/** Identifies a top-level factory-data string field. */
enum factory_data_string {
	FACTORY_DATA_STRING_SERIAL,       /* sn */
	FACTORY_DATA_STRING_VENDOR_NAME,  /* vendor_name */
	FACTORY_DATA_STRING_PRODUCT_NAME, /* product_name */
	FACTORY_DATA_STRING_HW_VER,       /* hw_ver_str */
};

/**
 * Fetch a factory-data string field (not NUL-terminated).
 *
 * On success @p value points into an internal cache that stays valid for the
 * lifetime of the program (do not free) and @p len holds its length. Returns
 * false if the partition is erased/invalid or the field is absent.
 */
bool factory_data_get_string(enum factory_data_string field,
			     const uint8_t **value, size_t *len);

/**
 * BLE pairing passkey provisioned in the factory_data partition.
 *
 * Returns the passkey (0-999999), or @p dflt if the partition is erased/invalid
 * or the field is missing/out of range.
 */
uint32_t factory_data_ble_passkey(uint32_t dflt);

#ifdef __cplusplus
}
#endif

#endif /* FACTORY_DATA_H_ */
```
